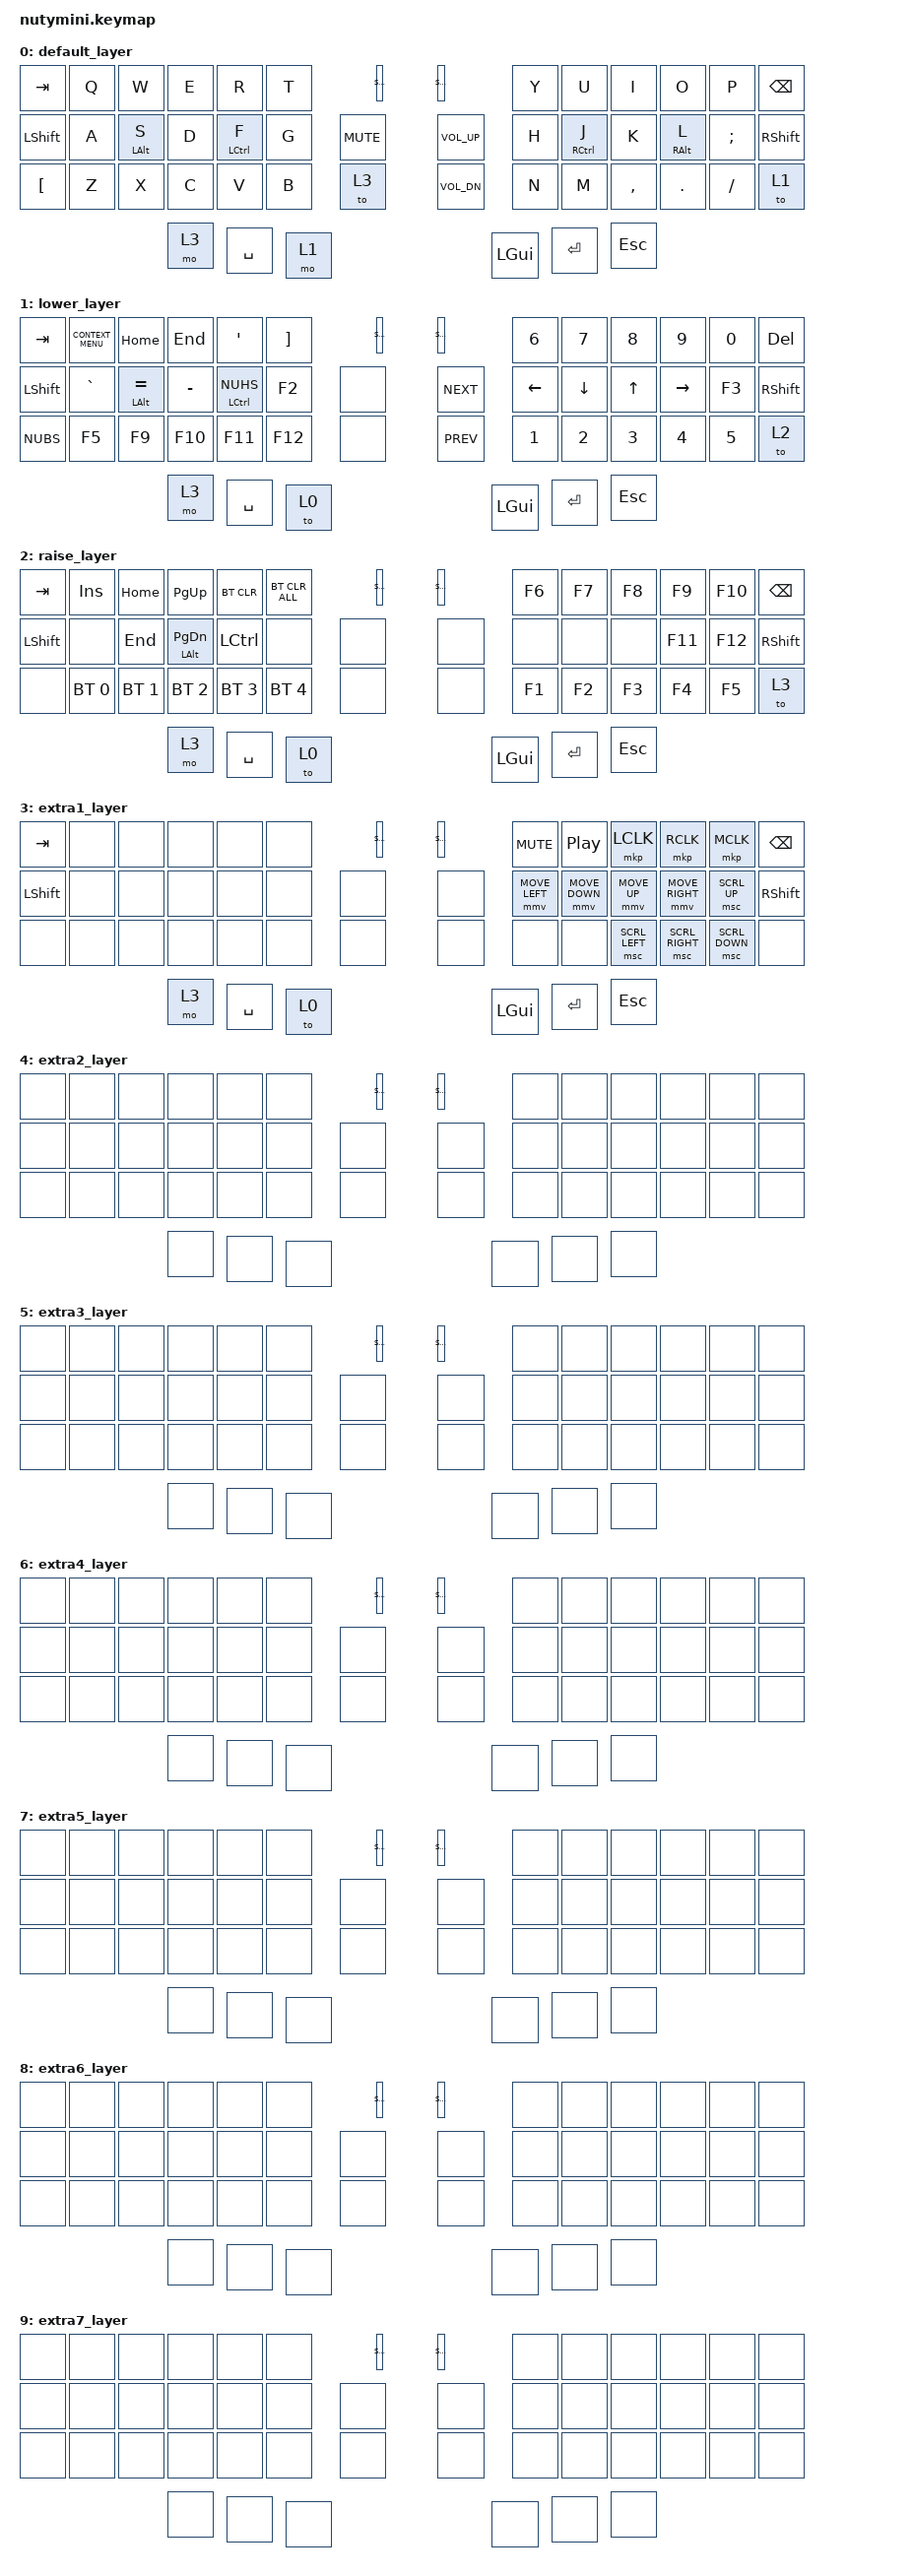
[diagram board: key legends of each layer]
/*
 * Copyright (c) 2020 The ZMK Contributors
 *
 * SPDX-License-Identifier: MIT
 */

#include <behaviors.dtsi>
#include <dt-bindings/zmk/keys.h>
#include <dt-bindings/zmk/bt.h>
#include <dt-bindings/zmk/pointing.h>

&glidepoint_listener {
    input-processors = <&zip_xy_scaler 1 1>;
    scroller {
        layers = <1>;
        input-processors = <&zip_xy_to_scroll_mapper>, <&zip_scroll_scaler 1 5>;
    };
};

/ {
    behaviors {
        hm: homerow_mods {
            compatible = "zmk,behavior-hold-tap";
            #binding-cells = <2>;
            tapping-term-ms = <150>;
            quick-tap-ms = <0>;
            flavor = "tap-preferred";
            bindings = <&kp>, <&kp>;
        };
    };


        keymap {
                compatible = "zmk,keymap";

                default_layer {
                        bindings = <
   &kp TAB      &kp Q       &kp W     &kp E       &kp R         &kp T             &kp Y           &kp U         &kp I           &kp O       &kp P         &kp BSPC
   &kp LSHIFT   &kp A       &hm LALT S     &kp D  &hm LCTRL F   &kp G             &kp H           &hm RCTRL J   &kp K           &hm RALT L  &kp SEMI      &kp RSHIFT
   &kp LBKT    &kp Z       &kp X     &kp C        &kp V         &kp B             &kp N           &kp M         &kp COMMA       &kp DOT     &kp FSLH      &to 1
   &mo 3        &kp SPACE   &mo 1     &to 3       &kp C_MUTE         &studio_unlock    &studio_unlock  &kp C_VOL_UP  &kp C_VOL_DN    &kp LGUI    &kp ENTER     &kp ESC
                        >;
                };

                lower_layer {
                        bindings = <
   &kp TAB        &kp K_CONTEXT_MENU    &kp HOME       &kp END          &kp APOS          &kp RBKT                &kp N6          &kp N7          &kp N8      &kp N9       &kp N0       &kp DEL
   &kp LSHIFT     &kp GRAVE              &hm LALT EQUAL     &kp MINUS   &hm LCTRL NUHS    &kp F2                  &kp LEFT        &kp DOWN        &kp UP      &kp RIGHT    &kp F3       &kp RSHIFT
   &kp NUBS       &kp F5                &kp F9         &kp F10          &kp F11           &kp F12                 &kp N1          &kp N2          &kp N3      &kp N4       &kp N5       &to 2
   &mo 3          &kp SPACE             &to 0          &none            &none          &studio_unlock          &studio_unlock  &kp C_NEXT      &kp C_PREV  &kp LGUI     &kp ENTER    &kp ESC
                        >;
                };

                raise_layer {
                        bindings = <
   &kp TAB      &kp INSERT     &kp HOME       &kp PG_UP         &bt BT_CLR     &bt BT_CLR_ALL           &kp F6          &kp F7              &kp F8            &kp F9            &kp F10         &kp BSPC
   &kp LSHIFT   &none          &kp END        &hm LALT PG_DN    &kp LCTRL      &none                    &none           &none               &none             &kp F11           &kp F12         &kp RSHIFT
   &none        &bt BT_SEL 0   &bt BT_SEL 1   &bt BT_SEL 2      &bt BT_SEL 3   &bt BT_SEL 4             &kp F1          &kp F2              &kp F3            &kp F4            &kp F5          &to 3
   &mo 3        &kp SPACE      &to 0          &none             &none          &studio_unlock           &studio_unlock  &none               &none             &kp LGUI          &kp ENTER       &kp ESC
                        >;
                };

                extra1_layer {
                        bindings = <
   &kp TAB      &none         &none         &none       &none     &none                   &kp C_MUTE       &kp C_PP            &mkp LCLK         &mkp RCLK           &mkp MCLK           &kp BSPC
   &kp LSHIFT   &none         &none         &none       &none     &none                   &mmv MOVE_LEFT   &mmv MOVE_DOWN      &mmv MOVE_UP      &mmv MOVE_RIGHT     &msc SCRL_UP        &kp RSHIFT
   &none        &none         &none         &none       &none     &none                   &none            &none               &msc SCRL_LEFT    &msc SCRL_RIGHT     &msc SCRL_DOWN      &none
   &mo 3        &kp SPACE     &to 0         &none       &none     &studio_unlock          &studio_unlock   &none               &none             &kp LGUI            &kp ENTER           &kp ESC
                        >;
                };

                extra2_layer {
                        bindings = <
   &none      &none     &none      &none     &none     &none           &none            &none       &none     &none         &none        &none
   &none      &none     &none      &none     &none     &none           &none            &none       &none     &none         &none        &none
   &none      &none     &none      &none     &none     &none           &none            &none       &none     &none         &none        &none
   &none      &none     &none      &none     &none     &studio_unlock  &studio_unlock   &none       &none     &none         &none        &none
                        >;
                };


                extra3_layer {
                        bindings = <
   &none      &none     &none      &none     &none     &none           &none            &none       &none     &none         &none        &none
   &none      &none     &none      &none     &none     &none           &none            &none       &none     &none         &none        &none
   &none      &none     &none      &none     &none     &none           &none            &none       &none     &none         &none        &none
   &none      &none     &none      &none     &none     &studio_unlock  &studio_unlock   &none       &none     &none         &none        &none
                        >;
                };

                extra4_layer {
                        bindings = <
   &none      &none     &none      &none     &none     &none           &none            &none       &none     &none         &none        &none
   &none      &none     &none      &none     &none     &none           &none            &none       &none     &none         &none        &none
   &none      &none     &none      &none     &none     &none           &none            &none       &none     &none         &none        &none
   &none      &none     &none      &none     &none     &studio_unlock  &studio_unlock   &none       &none     &none         &none        &none
                        >;
                };

                extra5_layer {
                        bindings = <
   &none      &none     &none      &none     &none     &none           &none            &none       &none     &none         &none        &none
   &none      &none     &none      &none     &none     &none           &none            &none       &none     &none         &none        &none
   &none      &none     &none      &none     &none     &none           &none            &none       &none     &none         &none        &none
   &none      &none     &none      &none     &none     &studio_unlock  &studio_unlock   &none       &none     &none         &none        &none
                        >;
                };

                extra6_layer {
                        bindings = <
   &none      &none     &none      &none     &none     &none           &none            &none       &none     &none         &none        &none
   &none      &none     &none      &none     &none     &none           &none            &none       &none     &none         &none        &none
   &none      &none     &none      &none     &none     &none           &none            &none       &none     &none         &none        &none
   &none      &none     &none      &none     &none     &studio_unlock  &studio_unlock   &none       &none     &none         &none        &none
                        >;
                };

                extra7_layer {
                        bindings = <
   &none      &none     &none      &none     &none     &none           &none            &none       &none     &none         &none        &none
   &none      &none     &none      &none     &none     &none           &none            &none       &none     &none         &none        &none
   &none      &none     &none      &none     &none     &none           &none            &none       &none     &none         &none        &none
   &none      &none     &none      &none     &none     &studio_unlock  &studio_unlock   &none       &none     &none         &none        &none
                        >;
                };





                

        };
};
